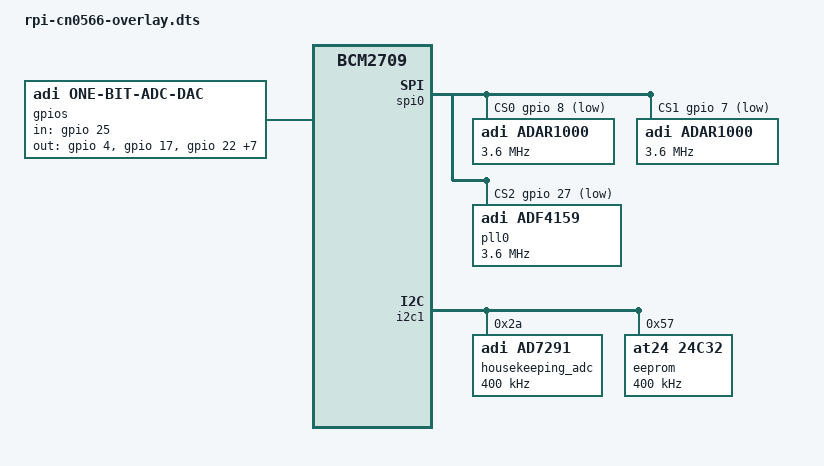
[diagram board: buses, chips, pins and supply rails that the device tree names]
// SPDX-License-Identifier: GPL-2.0
/dts-v1/;
/plugin/;

/ {
	compatible = "brcm,bcm2836", "brcm,bcm2835", "brcm,bcm2709";

	fragment@0 {
		target-path = "/";
		__overlay__ {
			clkin: clock@0 {
				compatible = "fixed-clock";
				clock-frequency = <100000000>;
				clock-output-names = "adf4159_ext_refclk";
				#clock-cells = <0>;
			};
		};
	};

	/* We have 2 spidev */
	fragment@1 {
		target = <&spi0_cs_pins>;
		frag0: __overlay__ {
			brcm,pins = <8 7 27>;
			brcm,function = <1>; //output
		};
	};

	fragment@2 {
		target = <&spi0>;
		__overlay__ {
			#address-cells = <1>;
			#size-cells = <0>;
			cs-gpios = <&gpio 8 1>,  <&gpio 7 1>,  <&gpio 27 1>;
			status = "okay";

			adar1000@0 {
				compatible = "adi,adar1000";
				reg = <0>;
				spi-max-frequency = <3600000>;

				#address-cells = <1>;
				#size-cells = <0>;

				adar1000_0@0 {
					reg = <0>;
					label = "BEAM0";
					adi,phasetable-name = "adar1000_std_phasetable";
				};

			};

			adar1000@1 {
				compatible = "adi,adar1000";
				reg = <1>;
				spi-max-frequency = <3600000>;

				#address-cells = <1>;
				#size-cells = <0>;

				adar1000_1@0 {
					reg = <0>;
					label = "BEAM1";
					adi,phasetable-name = "adar1000_std_phasetable";
				};
			};

			adf4159@2 {
				compatible = "adi,adf4159";
				reg = <2>;
				label = "pll0";
				spi-max-frequency = <3600000>;
				/* Clocks */
				clocks = <&clkin>;
				clock-names = "clkin";
				clock-output-names = "rf_out";
				#clock-cells = <0>;
				adi,power-up-frequency-hz = /bits/ 64 <3000000000>;
				adi,charge-pump-current-microamp = <900>;
				adi,clk1-div = <100>;
				adi,clk2-timer-div = <0>;
				adi,clk2-timer-div-2 = <0>;
				adi,clk-div-mode = <0>;
				adi,delay-start-word = <0>;
				adi,deviation = <1000>;
				adi,deviation-2 = <0>;
				adi,deviation-offset = <1>;
				adi,interrupt-mode-select = <0>;
				adi,muxout-select = <15>;
				adi,negative-bleed-current-microamp = <0>;
				adi,phase = <0>;
				adi,ramp-mode-select = <0>;
				adi,ramp-status-mode = <3>;
				adi,reference-div-factor = <1>;
				adi,step-word = <0>;
				adi,step-word-2 = <0>;
			};
		};
	};

	fragment@3 {
		target-path = "/";
		__overlay__ {
			one-bit-adc-dac@0 {
				compatible = "adi,one-bit-adc-dac";
				label = "gpios";
				#address-cells = <1>;
				#size-cells = <0>;
				in-gpios = <&gpio 25 0>;
				out-gpios = <&gpio 4 0>, <&gpio 17 0>, <&gpio 22 0>, <&gpio 5 0>,
					    <&gpio 6 0>, <&gpio 13 0>, <&gpio 18 0>, <&gpio 24 0>,
					    <&gpio 12 0>, <&gpio 23 0>;
				status = "okay";
				channel@0 {
					reg = <0>;
					label = "MUXOUT";
				};
				channel@1 {
					reg = <1>;
					label = "DIV_S0";
				};
				channel@2 {
					reg = <2>;
					label = "RX_LOAD";
				};
				channel@3 {
					reg = <3>;
					label = "TR";
				};
				channel@4 {
					reg = <4>;
					label = "DIV_S1";
				};
				channel@5 {
					reg = <5>;
					label = "DIV_S2";
				};
				channel@6 {
					reg = <6>;
					label = "DIV_MR";
				};
				channel@7 {
					reg = <7>;
					label = "VCTRL_1";
				};
				channel@8 {
					reg = <8>;
					label = "VCTRL_2";
				};
				channel@9 {
					reg = <9>;
					label = "TX_SW";
				};
				channel@10 {
					reg = <10>;
					label = "BURST";
				};
			};
		};
	};

	fragment@4 {
		target = <&i2c1>;
		__overlay__ {
			#address-cells = <1>;
			#size-cells = <0>;
			status = "okay";
			ad7291@2f {
				compatible = "adi,ad7291";
				label = "housekeeping_adc";
				clock-frequency = <400000>;
				reg = <0x2a>;
			};

			eeprom@50 {
				compatible = "at24,24c32";
				clock-frequency = <400000>;
				reg = <0x57>;
			};
		};
	};
};
